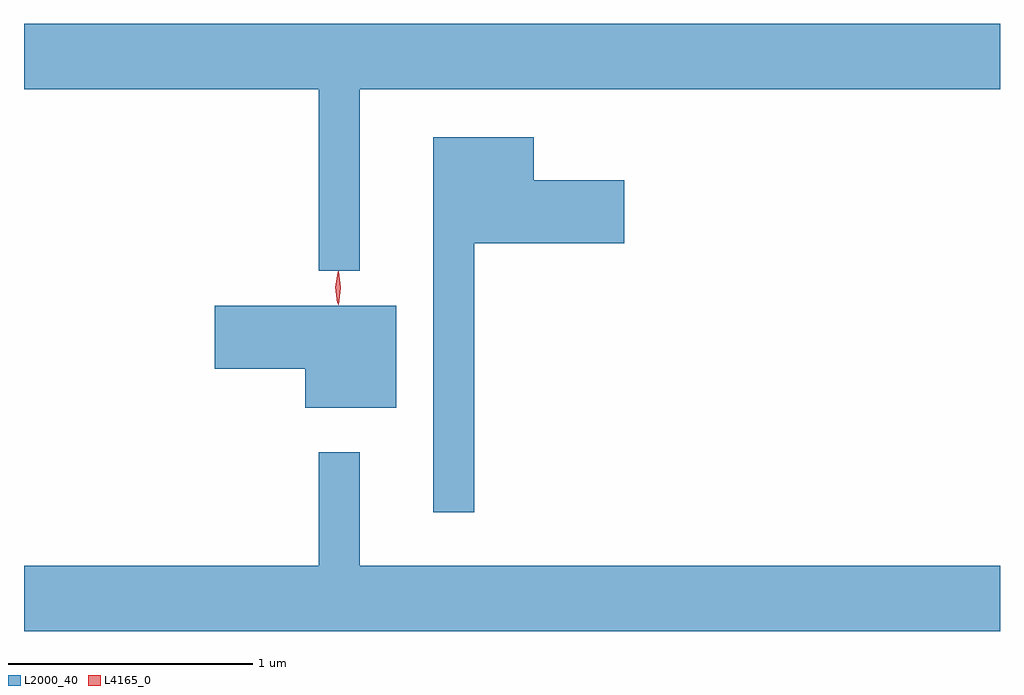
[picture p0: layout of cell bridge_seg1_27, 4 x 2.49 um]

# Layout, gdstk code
import gdstk
lib = gdstk.Library(unit=1e-6, precision=1e-09)
def P(c, l, *ps):  # polygons
    for p in ps: c.add(gdstk.Polygon(p, *l))
L2000_40 = (2000, 40)
L4165_0 = (4165, 0)

bridge_seg1_27 = lib.new_cell('bridge_seg1_27')
P(bridge_seg1_27, L2000_40, [(1644.089,844.076),(1646.714,844.076),(1646.714,844.344),(1642.714,844.344),(1642.714,844.076),(1643.921,844.076),(1643.921,843.333),(1644.089,843.333)],
  [(1644.559,843.446),(1645.174,843.446),(1645.174,843.704),(1644.804,843.704),(1644.804,843.879),(1644.391,843.879),(1644.391,842.343),(1644.559,842.343)],
  [(1644.239,843.189),(1643.496,843.189),(1643.496,842.931),(1643.866,842.931),(1643.866,842.771),(1644.239,842.771)],
  [(1646.714,842.124),(1644.089,842.124),(1644.089,842.588),(1643.921,842.588),(1643.921,842.124),(1642.714,842.124),(1642.714,841.856),(1646.714,841.856)])
P(bridge_seg1_27, L4165_0, [(1643.999,843.2),(1643.998,843.201),(1643.99,843.264),(1644,843.326),(1644,843.327),(1644.001,843.326),(1644.01,843.263),(1643.999,843.201)],
  [(1644.002,843.194),(1643.993,843.262),(1644.002,843.33),(1644.003,843.33),(1644.003,843.33),(1644.013,843.262),(1644.003,843.194),(1644.003,843.194)])

lib.write_gds('bridge_seg1_27.gds')
